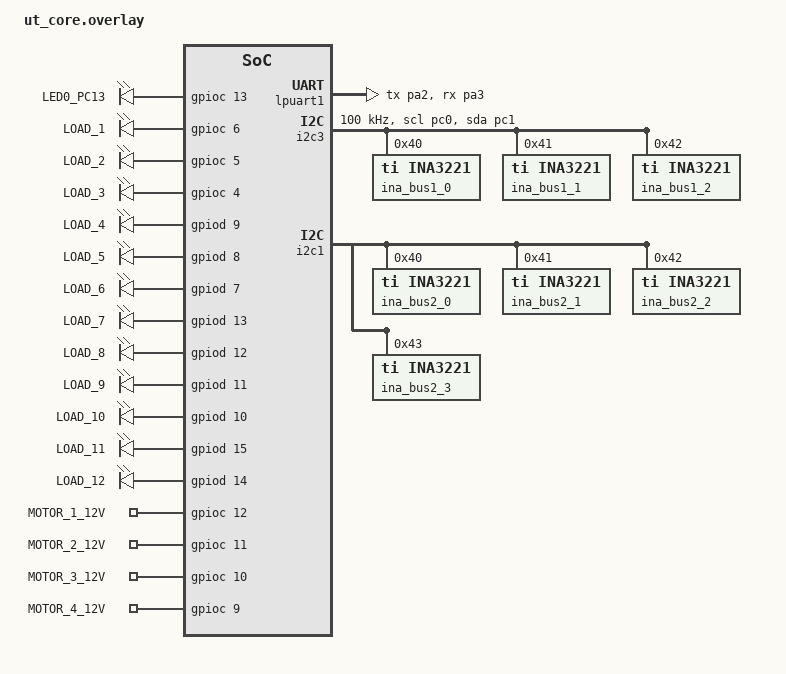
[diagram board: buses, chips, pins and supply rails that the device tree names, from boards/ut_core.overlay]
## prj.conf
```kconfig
# CONFIG_GPIO=y
# CONFIG_I2C=y
# CONFIG_SENSOR=y

# CONFIG_SERIAL=y
# CONFIG_CONSOLE=y
# CONFIG_UART_CONSOLE=y
# CONFIG_PRINTK=y



CONFIG_GPIO=y
CONFIG_CAN=y
CONFIG_CAN_STM32_FDCAN=y

# --- LOGGING & CONSOLE SETUP (RTT) ---
# 1. Force the Console subsystem to stay ON
CONFIG_CONSOLE=y
CONFIG_STDOUT_CONSOLE=y

# 2. Configure RTT as the backend
CONFIG_USE_SEGGER_RTT=y
CONFIG_RTT_CONSOLE=y

# 3. Disable UART/Serial to prevent conflicts
CONFIG_UART_CONSOLE=n
CONFIG_SERIAL=n

# 4. Connect Printk and Logging to RTT
CONFIG_PRINTK=y
CONFIG_LOG=y
CONFIG_LOG_BACKEND_RTT=y
CONFIG_LOG_BACKEND_UART=n
CONFIG_LOG_MODE_IMMEDIATE=y

CONFIG_NEWLIB_LIBC=y
CONFIG_NEWLIB_LIBC_FLOAT_PRINTF=y




CONFIG_SENSOR=y
CONFIG_INA3221=y
```

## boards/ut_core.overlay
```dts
#include <zephyr/dt-bindings/gpio/gpio.h>

/ {
	leds {
		compatible = "gpio-leds";

		led0: led_0 {
			gpios = <&gpioc 13 GPIO_ACTIVE_HIGH>;
			label = "LED0_PC13";
		};
	};

	aliases {
		led0 = &led0;
		/delete-property/ led1;
		/delete-property/ led2;
	};

	load_switches {
		compatible = "gpio-leds";

		load1: load_1 {
			gpios = <&gpioc 6 GPIO_ACTIVE_HIGH>;
			label = "LOAD_1";
		};
		load2: load_2 {
			gpios = <&gpioc 5 GPIO_ACTIVE_HIGH>;
			label = "LOAD_2";
		};
		load3: load_3 {
			gpios = <&gpioc 4 GPIO_ACTIVE_HIGH>;
			label = "LOAD_3";
		};
		load4: load_4 {
			gpios = <&gpiod 9 GPIO_ACTIVE_HIGH>;
			label = "LOAD_4";
		};
		load5: load_5 {
			gpios = <&gpiod 8 GPIO_ACTIVE_HIGH>;
			label = "LOAD_5";
		};
		load6: load_6 {
			gpios = <&gpiod 7 GPIO_ACTIVE_HIGH>;
			label = "LOAD_6";
		};
		load7: load_7 {
			gpios = <&gpiod 13 GPIO_ACTIVE_HIGH>;
			label = "LOAD_7";
		};
		load8: load_8 {
			gpios = <&gpiod 12 GPIO_ACTIVE_HIGH>;
			label = "LOAD_8";
		};
		load9: load_9 {
			gpios = <&gpiod 11 GPIO_ACTIVE_HIGH>;
			label = "LOAD_9";
		};
		load10: load_10 {
			gpios = <&gpiod 10 GPIO_ACTIVE_HIGH>;
			label = "LOAD_10";
		};
		load11: load_11 {
			gpios = <&gpiod 15 GPIO_ACTIVE_HIGH>;
			label = "LOAD_11";
		};
		load12: load_12 {
			gpios = <&gpiod 14 GPIO_ACTIVE_HIGH>;
			label = "LOAD_12";
		};
	};

	motor_switches {
		compatible = "gpio-leds";

		motor1: motor_1 {
			gpios = <&gpioc 12 GPIO_ACTIVE_HIGH>;
			label = "MOTOR_1_12V";
		};
		motor2: motor_2 {
			gpios = <&gpioc 11 GPIO_ACTIVE_HIGH>;
			label = "MOTOR_2_12V";
		};
		motor3: motor_3 {
			gpios = <&gpioc 10 GPIO_ACTIVE_HIGH>;
			label = "MOTOR_3_12V";
		};
		motor4: motor_4 {
			gpios = <&gpioc 9 GPIO_ACTIVE_HIGH>;
			label = "MOTOR_4_12V";
		};
	};
};

/* Remap LPUART1 to PA2 (TX) / PA3 (RX) — PC0/PC1 are used for I2C3 */
&pinctrl {
	lpuart1_tx_pa2: lpuart1_tx_pa2 {
		pinmux = <STM32_PINMUX('A', 2, AF8)>;
	};

	lpuart1_rx_pa3: lpuart1_rx_pa3 {
		pinmux = <STM32_PINMUX('A', 3, AF8)>;
	};

	i2c3_scl_pc0: i2c3_scl_pc0 {
		pinmux = <STM32_PINMUX('C', 0, AF4)>;
		drive-open-drain;
		bias-pull-up;
	};

	i2c3_sda_pc1: i2c3_sda_pc1 {
		pinmux = <STM32_PINMUX('C', 1, AF4)>;
		drive-open-drain;
		bias-pull-up;
	};
};

&lpuart1 {
	pinctrl-0 = <&lpuart1_tx_pa2 &lpuart1_rx_pa3>;
};

/*
 * I2C3 on PC0/PC1 — 3x INA3221 (9 channels)
 *
 * INA3221 addresses (A0 pin):
 *   GND = 0x40, VS = 0x41, SDA = 0x42, SCL = 0x43
 *
 * TODO: verify addresses match your A0 strapping
 * TODO: set shunt-resistors to actual values (units: mOhm)
 */
&i2c3 {
	status = "okay";
	pinctrl-0 = <&i2c3_scl_pc0 &i2c3_sda_pc1>;
	pinctrl-names = "default";
	clock-frequency = <100000>;

	ina_bus1_0: ina3221@40 {
		compatible = "ti,ina3221";
		reg = <0x40>;
		shunt-resistors = <10 10 10>;
		enable-channel = <1 1 1>;
	};

	ina_bus1_1: ina3221@41 {
		compatible = "ti,ina3221";
		reg = <0x41>;
		shunt-resistors = <10 10 10>;
		enable-channel = <1 1 1>;
	};

	ina_bus1_2: ina3221@42 {
		compatible = "ti,ina3221";
		reg = <0x42>;
		shunt-resistors = <10 10 10>;
		enable-channel = <1 1 1>;
	};
};

/*
 * I2C1 on PB6/PB7 (already enabled in board DTS) — 4x INA3221 (12 channels)
 *
 * TODO: verify addresses match your A0 strapping
 * TODO: set shunt-resistors to actual values (units: mOhm)
 */
&i2c1 {
	ina_bus2_0: ina3221@40 {
		compatible = "ti,ina3221";
		reg = <0x40>;
		shunt-resistors = <10 10 10>;
		enable-channel = <1 1 1>;
	};

	ina_bus2_1: ina3221@41 {
		compatible = "ti,ina3221";
		reg = <0x41>;
		shunt-resistors = <10 10 10>;
		enable-channel = <1 1 1>;
	};

	ina_bus2_2: ina3221@42 {
		compatible = "ti,ina3221";
		reg = <0x42>;
		shunt-resistors = <10 10 10>;
		enable-channel = <1 1 1>;
	};

	ina_bus2_3: ina3221@43 {
		compatible = "ti,ina3221";
		reg = <0x43>;
		shunt-resistors = <10 10 10>;
		enable-channel = <1 1 1>;
	};
};
```

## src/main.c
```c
#include <zephyr/kernel.h>
#include <zephyr/drivers/gpio.h>
#include <zephyr/drivers/sensor.h>

/* INA3221 private attribute for channel selection (1, 2, or 3) */
#define SENSOR_ATTR_INA3221_SELECTED_CHANNEL (SENSOR_ATTR_PRIV_START + 1)

#define NUM_LOADS       12
#define NUM_MOTORS      4
#define NUM_INA         7
#define INA_CHANNELS    3
#define TOTAL_CHANNELS  (NUM_INA * INA_CHANNELS)

#define TELEMETRY_INTERVAL_MS 1000
#define LED_BLINK_INTERVAL_MS 500

static const struct gpio_dt_spec led0 = GPIO_DT_SPEC_GET(DT_ALIAS(led0), gpios);

/* ── Load switch GPIOs (active-high enable) ─────────────────────── */

static const struct gpio_dt_spec loads[NUM_LOADS] = {
	GPIO_DT_SPEC_GET(DT_NODELABEL(load1),  gpios),
	GPIO_DT_SPEC_GET(DT_NODELABEL(load2),  gpios),
	GPIO_DT_SPEC_GET(DT_NODELABEL(load3),  gpios),
	GPIO_DT_SPEC_GET(DT_NODELABEL(load4),  gpios),
	GPIO_DT_SPEC_GET(DT_NODELABEL(load5),  gpios),
	GPIO_DT_SPEC_GET(DT_NODELABEL(load6),  gpios),
	GPIO_DT_SPEC_GET(DT_NODELABEL(load7),  gpios),
	GPIO_DT_SPEC_GET(DT_NODELABEL(load8),  gpios),
	GPIO_DT_SPEC_GET(DT_NODELABEL(load9),  gpios),
	GPIO_DT_SPEC_GET(DT_NODELABEL(load10), gpios),
	GPIO_DT_SPEC_GET(DT_NODELABEL(load11), gpios),
	GPIO_DT_SPEC_GET(DT_NODELABEL(load12), gpios),
};

/* ── Motor 12V rail GPIOs ────────────────────────────────────────── */

static const struct gpio_dt_spec motors[NUM_MOTORS] = {
	GPIO_DT_SPEC_GET(DT_NODELABEL(motor1), gpios),
	GPIO_DT_SPEC_GET(DT_NODELABEL(motor2), gpios),
	GPIO_DT_SPEC_GET(DT_NODELABEL(motor3), gpios),
	GPIO_DT_SPEC_GET(DT_NODELABEL(motor4), gpios),
};

/* ── INA3221 power monitors (7 chips, 3 channels each = 21 ch) ── */

static const struct device *const ina_devs[NUM_INA] = {
	/* I2C3 bus (PC0/PC1) */
	DEVICE_DT_GET(DT_NODELABEL(ina_bus1_0)),
	DEVICE_DT_GET(DT_NODELABEL(ina_bus1_1)),
	DEVICE_DT_GET(DT_NODELABEL(ina_bus1_2)),
	/* I2C1 bus (PB6/PB7) */
	DEVICE_DT_GET(DT_NODELABEL(ina_bus2_0)),
	DEVICE_DT_GET(DT_NODELABEL(ina_bus2_1)),
	DEVICE_DT_GET(DT_NODELABEL(ina_bus2_2)),
	DEVICE_DT_GET(DT_NODELABEL(ina_bus2_3)),
};

struct power_reading {
	struct sensor_value voltage;
	struct sensor_value current;
	struct sensor_value power;
};

static struct power_reading telemetry[TOTAL_CHANNELS];

/* ── Load switch control ─────────────────────────────────────────── */

int enable_load(int load_num)
{
	if (load_num < 1 || load_num > NUM_LOADS) {
		return -EINVAL;
	}
	return gpio_pin_set_dt(&loads[load_num - 1], 1);
}

int disable_load(int load_num)
{
	if (load_num < 1 || load_num > NUM_LOADS) {
		return -EINVAL;
	}
	return gpio_pin_set_dt(&loads[load_num - 1], 0);
}

/* ── Motor 12V rail control ──────────────────────────────────────── */

int enable_motor(int motor_num)
{
	if (motor_num < 1 || motor_num > NUM_MOTORS) {
		return -EINVAL;
	}
	return gpio_pin_set_dt(&motors[motor_num - 1], 1);
}

int disable_motor(int motor_num)
{
	if (motor_num < 1 || motor_num > NUM_MOTORS) {
		return -EINVAL;
	}
	return gpio_pin_set_dt(&motors[motor_num - 1], 0);
}

/* ── Power monitor readout ───────────────────────────────────────── */

static int ina3221_select_channel(const struct device *dev, int channel)
{
	struct sensor_value val = { .val1 = channel, .val2 = 0 };

	return sensor_attr_set(dev,
			       SENSOR_CHAN_ALL,
			       (enum sensor_attribute)SENSOR_ATTR_INA3221_SELECTED_CHANNEL,
			       &val);
}

int read_power_monitors(void)
{
	int failures = 0;

	for (int chip = 0; chip < NUM_INA; chip++) {
		if (!device_is_ready(ina_devs[chip])) {
			failures += INA_CHANNELS;
			continue;
		}

		for (int ch = 0; ch < INA_CHANNELS; ch++) {
			int idx = chip * INA_CHANNELS + ch;

			if (ina3221_select_channel(ina_devs[chip], ch + 1)) {
				failures++;
				continue;
			}

			if (sensor_sample_fetch(ina_devs[chip])) {
				failures++;
				continue;
			}

			sensor_channel_get(ina_devs[chip], SENSOR_CHAN_VOLTAGE,
					   &telemetry[idx].voltage);
			sensor_channel_get(ina_devs[chip], SENSOR_CHAN_CURRENT,
					   &telemetry[idx].current);
			sensor_channel_get(ina_devs[chip], SENSOR_CHAN_POWER,
					   &telemetry[idx].power);
		}
	}

	return failures;
}

void print_telemetry(void)
{
	printk("──── EPS Telemetry ────\n");
	for (int chip = 0; chip < NUM_INA; chip++) {
		if (!device_is_ready(ina_devs[chip])) {
			printk("  INA%d: not ready\n", chip);
			continue;
		}
		for (int ch = 0; ch < INA_CHANNELS; ch++) {
			int idx = chip * INA_CHANNELS + ch;

			printk("  INA%d-CH%d: %d.%06dV  %d.%06dA  %d.%06dW\n",
			       chip, ch + 1,
			       telemetry[idx].voltage.val1,
			       telemetry[idx].voltage.val2,
			       telemetry[idx].current.val1,
			       telemetry[idx].current.val2,
			       telemetry[idx].power.val1,
			       telemetry[idx].power.val2);
		}
	}
}

/* ── GPIO initialization ─────────────────────────────────────────── */

static int init_gpios(void)
{
	int err;

	for (int i = 0; i < NUM_LOADS; i++) {
		if (!gpio_is_ready_dt(&loads[i])) {
			printk("EPS: load %d gpio not ready\n", i + 1);
			return -ENODEV;
		}
		err = gpio_pin_configure_dt(&loads[i], GPIO_OUTPUT_INACTIVE);
		if (err) {
			printk("EPS: load %d config failed (%d)\n", i + 1, err);
			return err;
		}
	}

	for (int i = 0; i < NUM_MOTORS; i++) {
		if (!gpio_is_ready_dt(&motors[i])) {
			printk("EPS: motor %d gpio not ready\n", i + 1);
			return -ENODEV;
		}
		err = gpio_pin_configure_dt(&motors[i], GPIO_OUTPUT_INACTIVE);
		if (err) {
			printk("EPS: motor %d config failed (%d)\n", i + 1, err);
			return err;
		}
	}

	return 0;
}

/* ── Main ─────────────────────────────────────────────────────────── */

int main(void)
{
	printk("EPS: starting\n");

	int err = init_gpios();
	if (err) {
		printk("EPS: GPIO init failed (%d)\n", err);
		return 0;
	}

	printk("EPS: %d loads, %d motors configured\n", NUM_LOADS, NUM_MOTORS);

	int ina_ready = 0;
	for (int i = 0; i < NUM_INA; i++) {
		if (device_is_ready(ina_devs[i])) {
			ina_ready++;
		}
	}
	printk("EPS: %d/%d INA3221 sensors ready (%d total channels)\n",
	       ina_ready, NUM_INA, ina_ready * INA_CHANNELS);

	if (!gpio_is_ready_dt(&led0)) {
		printk("EPS: led0 gpio not ready\n");
		return 0;
	}
	err = gpio_pin_configure_dt(&led0, GPIO_OUTPUT_ACTIVE);
	if (err) {
		printk("EPS: led0 config failed (%d)\n", err);
		return 0;
	}

	while (1) {
		gpio_pin_toggle_dt(&led0);
		read_power_monitors();
		print_telemetry();
		k_msleep(LED_BLINK_INTERVAL_MS);
	}
}
```

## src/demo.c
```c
#include <zephyr/kernel.h>
#include <zephyr/drivers/gpio.h>
#include <zephyr/drivers/sensor.h>
#include <zephyr/drivers/can.h>
#include <zephyr/logging/log.h>
#include <string.h>

#include "../../../common/can_proto.h"

LOG_MODULE_REGISTER(eps, LOG_LEVEL_INF);

/* INA3221 private attribute for channel selection (1, 2, or 3) */
#define SENSOR_ATTR_INA3221_SELECTED_CHANNEL (SENSOR_ATTR_PRIV_START + 1)

#define NUM_LOADS       12
#define NUM_MOTORS      4
#define NUM_INA         7
#define INA_CHANNELS    3
#define TOTAL_CHANNELS  (NUM_INA * INA_CHANNELS)

#define TELEMETRY_INTERVAL_MS 5000
#define LED_BLINK_INTERVAL_MS 500
#define HEARTBEAT_INTERVAL_MS 1000

/* ── CAN ─────────────────────────────────────────────────────────── */

#define NODE_ID     EPS_ID      /* 0x02 from can_proto.h */
#define PRIO_LOW    4

static const struct device *const can_dev = DEVICE_DT_GET(DT_NODELABEL(fdcan1));
static const struct device *const gpioa   = DEVICE_DT_GET(DT_NODELABEL(gpioa));
CAN_MSGQ_DEFINE(rxq, 16);
#define PIN_SHDN    10
#define PIN_SILENT  9

/* ── LED ─────────────────────────────────────────────────────────── */

static const struct gpio_dt_spec led0 = GPIO_DT_SPEC_GET(DT_ALIAS(led0), gpios);

/* ── Load switch GPIOs (active-high enable) ─────────────────────── */

static const struct gpio_dt_spec loads[NUM_LOADS] = {
	GPIO_DT_SPEC_GET(DT_NODELABEL(load1),  gpios),
	GPIO_DT_SPEC_GET(DT_NODELABEL(load2),  gpios),
	GPIO_DT_SPEC_GET(DT_NODELABEL(load3),  gpios),
	GPIO_DT_SPEC_GET(DT_NODELABEL(load4),  gpios),
	GPIO_DT_SPEC_GET(DT_NODELABEL(load5),  gpios),
	GPIO_DT_SPEC_GET(DT_NODELABEL(load6),  gpios),
	GPIO_DT_SPEC_GET(DT_NODELABEL(load7),  gpios),
	GPIO_DT_SPEC_GET(DT_NODELABEL(load8),  gpios),
	GPIO_DT_SPEC_GET(DT_NODELABEL(load9),  gpios),
	GPIO_DT_SPEC_GET(DT_NODELABEL(load10), gpios),
	GPIO_DT_SPEC_GET(DT_NODELABEL(load11), gpios),
	GPIO_DT_SPEC_GET(DT_NODELABEL(load12), gpios),
};

/* ── Motor 12V rail GPIOs ────────────────────────────────────────── */

static const struct gpio_dt_spec motors[NUM_MOTORS] = {
	GPIO_DT_SPEC_GET(DT_NODELABEL(motor1), gpios),
	GPIO_DT_SPEC_GET(DT_NODELABEL(motor2), gpios),
	GPIO_DT_SPEC_GET(DT_NODELABEL(motor3), gpios),
	GPIO_DT_SPEC_GET(DT_NODELABEL(motor4), gpios),
};

/* ── INA3221 power monitors (7 chips, 3 channels each = 21 ch) ── */

static const struct device *const ina_devs[NUM_INA] = {
	DEVICE_DT_GET(DT_NODELABEL(ina_bus1_0)),
	DEVICE_DT_GET(DT_NODELABEL(ina_bus1_1)),
	DEVICE_DT_GET(DT_NODELABEL(ina_bus1_2)),
	DEVICE_DT_GET(DT_NODELABEL(ina_bus2_0)),
	DEVICE_DT_GET(DT_NODELABEL(ina_bus2_1)),
	DEVICE_DT_GET(DT_NODELABEL(ina_bus2_2)),
	DEVICE_DT_GET(DT_NODELABEL(ina_bus2_3)),
};

struct power_reading {
	struct sensor_value voltage;
	struct sensor_value current;
	struct sensor_value power;
};

static struct power_reading telemetry[TOTAL_CHANNELS];

/* ── Load switch control ─────────────────────────────────────────── */

int enable_load(int load_num)
{
	if (load_num < 1 || load_num > NUM_LOADS) return -EINVAL;
	return gpio_pin_set_dt(&loads[load_num - 1], 1);
}

int disable_load(int load_num)
{
	if (load_num < 1 || load_num > NUM_LOADS) return -EINVAL;
	return gpio_pin_set_dt(&loads[load_num - 1], 0);
}

/* ── Motor 12V rail control ──────────────────────────────────────── */

int enable_motor(int motor_num)
{
	if (motor_num < 1 || motor_num > NUM_MOTORS) return -EINVAL;
	return gpio_pin_set_dt(&motors[motor_num - 1], 1);
}

int disable_motor(int motor_num)
{
	if (motor_num < 1 || motor_num > NUM_MOTORS) return -EINVAL;
	return gpio_pin_set_dt(&motors[motor_num - 1], 0);
}

/* ── Power monitor readout ───────────────────────────────────────── */

static int ina3221_select_channel(const struct device *dev, int channel)
{
	struct sensor_value val = { .val1 = channel, .val2 = 0 };
	return sensor_attr_set(dev, SENSOR_CHAN_ALL,
			       (enum sensor_attribute)SENSOR_ATTR_INA3221_SELECTED_CHANNEL,
			       &val);
}

int read_power_monitors(void)
{
	int failures = 0;

	for (int chip = 0; chip < NUM_INA; chip++) {
		if (!device_is_ready(ina_devs[chip])) {
			failures += INA_CHANNELS;
			continue;
		}
		for (int ch = 0; ch < INA_CHANNELS; ch++) {
			int idx = chip * INA_CHANNELS + ch;
			if (ina3221_select_channel(ina_devs[chip], ch + 1)) { failures++; continue; }
			if (sensor_sample_fetch(ina_devs[chip]))             { failures++; continue; }
			sensor_channel_get(ina_devs[chip], SENSOR_CHAN_VOLTAGE, &telemetry[idx].voltage);
			sensor_channel_get(ina_devs[chip], SENSOR_CHAN_CURRENT, &telemetry[idx].current);
			sensor_channel_get(ina_devs[chip], SENSOR_CHAN_POWER,   &telemetry[idx].power);
		}
	}
	return failures;
}

void print_telemetry(void)
{
	printk("──── EPS Telemetry ────\n");
	for (int chip = 0; chip < NUM_INA; chip++) {
		if (!device_is_ready(ina_devs[chip])) {
			printk("  INA%d: not ready\n", chip);
			continue;
		}
		for (int ch = 0; ch < INA_CHANNELS; ch++) {
			int idx = chip * INA_CHANNELS + ch;
			printk("  INA%d-CH%d: %d.%06dV  %d.%06dA  %d.%06dW\n",
			       chip, ch + 1,
			       telemetry[idx].voltage.val1, telemetry[idx].voltage.val2,
			       telemetry[idx].current.val1, telemetry[idx].current.val2,
			       telemetry[idx].power.val1,   telemetry[idx].power.val2);
		}
	}
}

/* ── CAN TX ──────────────────────────────────────────────────────── */

static void send_heartbeat(void)
{
	struct can_frame f = {0};
	f.id    = CAN_ID_FULL(PRIO_LOW, NODE_ID, CAN_BROADCAST, CLS_HEARTBEAT);
	f.flags = CAN_FRAME_IDE;
	can_fill_payload(&f, NODE_ID, OP_HEARTBEAT, 0x00, 0, 0, 0, 0, 0);
	can_send(can_dev, &f, K_NO_WAIT, NULL, NULL);
	LOG_INF("TX heartbeat");
}

/* ── CAN RX ──────────────────────────────────────────────────────── */

typedef struct {
	uint8_t priority;
	uint8_t src;
	uint8_t dst;
	uint8_t msg_class;
	uint8_t dlc;
	uint8_t data[8];
} can_packet_t;

static void can_decode(const struct can_frame *f, can_packet_t *pkt)
{
	uint32_t id    = f->id;
	pkt->priority  = (id >> 26) & 0x07;
	pkt->src       = (id >> 14) & 0xFF;
	pkt->dst       = (id >>  6) & 0xFF;
	pkt->msg_class =  id        & 0x3F;
	pkt->dlc       = f->dlc;
	memcpy(pkt->data, f->data, f->dlc);
}

static void handle_heartbeat(const can_packet_t *pkt)
{
	LOG_INF("RX heartbeat from 0x%02X", pkt->src);
}

static void handle_set_pwr_state(const can_packet_t *pkt)
{
	uint8_t load_num = pkt->data[2];   /* p2: load number (1..12) */
	uint8_t state    = pkt->data[3];   /* p3: 1 = enable, 0 = disable */
	int ret;

	if (state) {
		ret = enable_load(load_num);
	} else {
		ret = disable_load(load_num);
	}

	LOG_INF("SET_PWR_STATE load=%d state=%d result=%d", load_num, state, ret);

	/* Send command response back to the requester */
	struct can_frame f = {0};
	f.id    = CAN_ID_FULL(PRIO_LOW, NODE_ID, pkt->src, CLS_CMD_RESP);
	f.flags = CAN_FRAME_IDE;
	uint8_t status = (ret == 0) ? 0x00 : 0x01;  /* 0x00 = success, 0x01 = error */
	can_fill_payload(&f, NODE_ID, OP_SET_PWR_STATE, load_num, state, status, 0, 0, 0);
	can_send(can_dev, &f, K_NO_WAIT, NULL, NULL);
}

static void can_dispatch(const can_packet_t *pkt)
{
	switch (pkt->msg_class) {
	case CLS_HEARTBEAT:
		handle_heartbeat(pkt);
		break;
	case CLS_COMMAND: {
		uint8_t op = pkt->data[1];
		switch (op) {
		case OP_SET_PWR_STATE:
			handle_set_pwr_state(pkt);
			break;
		default:
			LOG_WRN("Unknown command opcode: 0x%02X from 0x%02X", op, pkt->src);
			break;
		}
		break;
	}
	default:
		LOG_WRN("Unhandled class: %d from 0x%02X", pkt->msg_class, pkt->src);
		break;
	}
}

/* ── CAN RX Thread ───────────────────────────────────────────────── */

#define CAN_RX_STACK_SIZE  1024
#define CAN_RX_PRIORITY    5

static void can_rx_thread(void *a, void *b, void *c)
{
	struct can_frame frame;
	can_packet_t pkt;

	while (1) {
		if (k_msgq_get(&rxq, &frame, K_FOREVER) == 0) {
			can_decode(&frame, &pkt);
			can_dispatch(&pkt);
		}
	}
}

K_THREAD_DEFINE(can_rx_tid, CAN_RX_STACK_SIZE,
	can_rx_thread, NULL, NULL, NULL,
	CAN_RX_PRIORITY, 0, 0);

/* ── CAN Setup ───────────────────────────────────────────────────── */

static void tcan3403_wakeup(void)
{
    gpio_pin_configure(gpioa, PIN_SHDN,   GPIO_OUTPUT_INACTIVE);
    gpio_pin_configure(gpioa, PIN_SILENT,  GPIO_OUTPUT_INACTIVE);
    k_msleep(1);
    LOG_INF("TCAN3403 Awake");
}

static void can_setup(void)
{
	if (!device_is_ready(can_dev)) {
		LOG_ERR("CAN not ready");
		return;
	}

	can_set_bitrate(can_dev, 500000);
	can_set_mode(can_dev, CAN_MODE_NORMAL);
	can_start(can_dev);

	const struct can_filter to_me = {
		.id    = CAN_DST(NODE_ID),
		.mask  = CAN_DST_MASK_29,
		.flags = CAN_FILTER_IDE,
	};
	const struct can_filter bcast = {
		.id    = CAN_DST(CAN_BROADCAST),
		.mask  = CAN_DST_MASK_29,
		.flags = CAN_FILTER_IDE,
	};

	can_add_rx_filter_msgq(can_dev, &rxq, &to_me);
	can_add_rx_filter_msgq(can_dev, &rxq, &bcast);
	LOG_INF("CAN initialized (29-bit extended), node=0x%02X", NODE_ID);
}

/* ── GPIO initialization ─────────────────────────────────────────── */

static int init_gpios(void)
{
	int err;

	for (int i = 0; i < NUM_LOADS; i++) {
		if (!gpio_is_ready_dt(&loads[i])) {
			printk("EPS: load %d gpio not ready\n", i + 1);
			return -ENODEV;
		}
		err = gpio_pin_configure_dt(&loads[i], GPIO_OUTPUT_INACTIVE);
		if (err) { printk("EPS: load %d config failed (%d)\n", i + 1, err); return err; }
	}

	for (int i = 0; i < NUM_MOTORS; i++) {
		if (!gpio_is_ready_dt(&motors[i])) {
			printk("EPS: motor %d gpio not ready\n", i + 1);
			return -ENODEV;
		}
		err = gpio_pin_configure_dt(&motors[i], GPIO_OUTPUT_INACTIVE);
		if (err) { printk("EPS: motor %d config failed (%d)\n", i + 1, err); return err; }
	}

	return 0;
}

/* ── Main ─────────────────────────────────────────────────────────── */

int main(void)
{
	printk("EPS: starting\n");

	int err = init_gpios();
	if (err) {
		printk("EPS: GPIO init failed (%d)\n", err);
		return 0;
	}

	printk("EPS: %d loads, %d motors configured\n", NUM_LOADS, NUM_MOTORS);

	int ina_ready = 0;
	for (int i = 0; i < NUM_INA; i++) {
		if (device_is_ready(ina_devs[i])) ina_ready++;
	}
	printk("EPS: %d/%d INA3221 sensors ready (%d total channels)\n",
	       ina_ready, NUM_INA, ina_ready * INA_CHANNELS);

	if (!gpio_is_ready_dt(&led0)) {
		printk("EPS: led0 gpio not ready\n");
		return 0;
	}
	err = gpio_pin_configure_dt(&led0, GPIO_OUTPUT_ACTIVE);
	if (err) { printk("EPS: led0 config failed (%d)\n", err); return 0; }

	/* CAN bus init */
    tcan3403_wakeup();
	can_setup();

	LOG_INF("Running — heartbeat every %d ms", HEARTBEAT_INTERVAL_MS);

	int64_t last_hb   = k_uptime_get();
	int64_t last_telem = k_uptime_get();

	while (1) {
		int64_t now = k_uptime_get();

		/* Heartbeat */
		if ((now - last_hb) >= HEARTBEAT_INTERVAL_MS) {
			send_heartbeat();
			last_hb = now;
		}

		/* Telemetry + LED blink (kept from your original loop) */
		if ((now - last_telem) >= TELEMETRY_INTERVAL_MS) {
			gpio_pin_toggle_dt(&led0);
			read_power_monitors();
			print_telemetry();
			last_telem = now;
		}

		k_msleep(100);
	}
}
```
